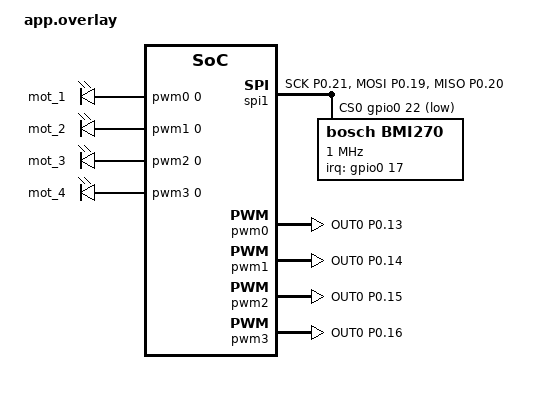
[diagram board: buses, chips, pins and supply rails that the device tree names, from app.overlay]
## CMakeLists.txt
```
cmake_minimum_required(VERSION 3.20.0)
find_package(Zephyr REQUIRED HINTS $ENV{ZEPHYR_BASE})
project(quinjet_drone)

# Added all FC source files
target_sources(app PRIVATE 
    src/main.c 
    src/radio_esb.c
    src/flight_control.c
    src/drivers/imu_bmi270.c
    src/drivers/motor_pwm.c
    src/modules/motor_mixer.c
    src/modules/pid.c
    src/modules/sensor_fusion.c
    src/modules/dynamic_notch.c
)

# Added shared include for the data packet
target_include_directories(app PRIVATE include ../shared/include)
```

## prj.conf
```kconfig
CONFIG_GPIO=y
CONFIG_PRINTK=y
CONFIG_CBPRINTF_FP_SUPPORT=y

# Hardware Subsystems
CONFIG_SPI=y
CONFIG_SENSOR=y
CONFIG_PWM=y
CONFIG_BMI270=y

# Enable CMSIS DSP
CONFIG_CMSIS_DSP=y
CONFIG_CMSIS_DSP_CONTROLLER=y
CONFIG_CMSIS_DSP_FASTMATH=y

CONFIG_CMSIS_DSP_FILTERING=y
CONFIG_CMSIS_DSP_TRANSFORM=y
CONFIG_CMSIS_DSP_COMPLEXMATH=y

# Enable Hardware Interrupt Triggers for the IMU
CONFIG_BMI270_TRIGGER_GLOBAL_THREAD=y

# ESB Configuration
CONFIG_ESB=y
CONFIG_ESB_MAX_PAYLOAD_LENGTH=32

CONFIG_USE_SEGGER_RTT=y
CONFIG_RTT_CONSOLE=y
CONFIG_UART_CONSOLE=n
CONFIG_STDOUT_CONSOLE=y

CONFIG_CLOCK_CONTROL_NRF_K32SRC_RC=y
CONFIG_CLOCK_CONTROL_NRF_K32SRC_500PPM=y

# for reference https://github.com/nrfconnect/sdk-nrf/blob/fbcdd8cc23fb193c30e6e4e87bf9d0ae0c2ff943/include/esb.h#L307 and https://github.com/nrfconnect/sdk-nrf/blob/main/subsys/esb/esb.c
```

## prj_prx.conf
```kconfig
# Basic System
CONFIG_GPIO=y
CONFIG_PRINTK=y
CONFIG_CBPRINTF_FP_SUPPORT=y 

# ESB Configuration
CONFIG_ESB=y
CONFIG_ESB_MAX_PAYLOAD_LENGTH=32

# RTT Console Logging
CONFIG_USE_SEGGER_RTT=y
CONFIG_RTT_CONSOLE=y
CONFIG_UART_CONSOLE=n
CONFIG_STDOUT_CONSOLE=y

# MANDATORY HARDWARE CLOCK FIX (Internal RC Oscillator)
CONFIG_CLOCK_CONTROL_NRF_K32SRC_RC=y
CONFIG_CLOCK_CONTROL_NRF_K32SRC_500PPM=y

# for reference https://github.com/nrfconnect/sdk-nrf/blob/fbcdd8cc23fb193c30e6e4e87bf9d0ae0c2ff943/include/esb.h#L307 and https://github.com/nrfconnect/sdk-nrf/blob/main/subsys/esb/esb.c
```

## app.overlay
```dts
/ {
    pwm_motor {
        compatible = "pwm-leds";
        mot_1: pwm_node_0 {
            pwms = <&pwm0 0 PWM_HZ(32000) PWM_POLARITY_NORMAL>;
        };
        mot_2: pwm_node_1 {
            pwms = <&pwm1 0 PWM_HZ(32000) PWM_POLARITY_NORMAL>;
        };
        mot_3: pwm_node_2 {
            pwms = <&pwm2 0 PWM_HZ(32000) PWM_POLARITY_NORMAL>;
        };
        mot_4: pwm_node_3 {
            pwms = <&pwm3 0 PWM_HZ(32000) PWM_POLARITY_NORMAL>;
        };
    };
};

&pinctrl {
    spi1_default: spi1_default {
        group1 {
            psels = <NRF_PSEL(SPIM_SCK, 0, 21)>,
                    <NRF_PSEL(SPIM_MOSI, 0, 19)>,
                    <NRF_PSEL(SPIM_MISO, 0, 20)>;
        };
    };
    pwm0_default: pwm0_default {
        group1 {
            /* Routing PWM channel 0 to Pin P0.13 */
            psels = <NRF_PSEL(PWM_OUT0, 0, 13)>;
        };
    };
    pwm1_default: pwm1_default {
        group1 {
            /* Routing PWM channel 0 to Pin P0.14 */
            psels = <NRF_PSEL(PWM_OUT0, 0, 14)>;
        };
    };
    pwm2_default: pwm2_default {
        group1 {
            /* Routing PWM channel 0 to Pin P0.15 */
            psels = <NRF_PSEL(PWM_OUT0, 0, 15)>;
        };
    };
    pwm3_default: pwm3_default {
        group1 {
            /* Routing PWM channel 0 to Pin P0.16 */
            psels = <NRF_PSEL(PWM_OUT0, 0, 16)>;
        };
    };
};

/*
The number after the @ symbol (and inside the reg property) specifies the hardware address of the device on that specific bus.
*/

&spi1 {
    compatible = "nordic,nrf-spim";
    status = "okay";
    pinctrl-0 = <&spi1_default>;
    pinctrl-names = "default";
    /delete-property/ pinctrl-1;

    cs-gpios = <&gpio0 22 GPIO_ACTIVE_LOW>;

    bmi270: bmi270@0 {
        compatible = "bosch,bmi270";
        reg = <0>;
        spi-max-frequency = <1000000>;
        irq-gpios = <&gpio0 17 GPIO_ACTIVE_HIGH>;
    };
};


&pwm0 {
    status = "okay";
    pinctrl-0 = <&pwm0_default>;
    pinctrl-names = "default";
    /delete-property/ pinctrl-1;
};

&pwm1 {
    status = "okay";
    pinctrl-0 = <&pwm1_default>;
    pinctrl-names = "default";
    /delete-property/ pinctrl-1;
};

&pwm2 {
    status = "okay";
    pinctrl-0 = <&pwm2_default>;
    pinctrl-names = "default";
    /delete-property/ pinctrl-1;
};

&pwm3 {
    status = "okay";
    pinctrl-0 = <&pwm3_default>;
    pinctrl-names = "default";
    /delete-property/ pinctrl-1;
};
```

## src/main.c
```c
#include <zephyr/kernel.h>
#include <zephyr/sys/printk.h>

#include "radio_esb.h"
#include "drivers/motor_pwm.h"

// Expose the BMI init here
extern int bmi270_init(void);

int main(void) {
    printk("\n Booting Quinjet FC \n");

    if (app_pwm_init() != 0) {
        printk("Failed to init PWM.\n");
    }

    if (bmi270_init() != 0) {
        printk("Failed to init IMU.\n");
    }

    if (radio_esb_init(false) != 0) { // false = PRX (Receiver)
        printk("Failed to boot radio.\n");
    }

    printk("System Ready. Flight Controller locked to IMU interrupts.\n");
    
    k_sleep(K_FOREVER);
    return 0;
}
```

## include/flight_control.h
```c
#ifndef FLIGHT_CONTROL_H
#define FLIGHT_CONTROL_H

typedef struct {
    float roll;
    float pitch;
    float yaw;
} euler_angles_t;

#endif 
```

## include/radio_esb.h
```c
#ifndef RADIO_ESB_H
#define RADIO_ESB_H

#include <stdint.h>
#include <stdbool.h>
#include <zephyr/spinlock.h>
#include "drone_packet.h" 

// Expose the shared memory and the lock to the flight control thread
extern data_packet latest_rc_command;
extern struct k_spinlock rc_spinlock;

int radio_esb_init(bool is_transmitter);

#endif
```

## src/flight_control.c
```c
#include <zephyr/kernel.h>
#include <zephyr/device.h>
#include <zephyr/drivers/sensor.h>
#include <zephyr/sys/printk.h>
#include <string.h>

#include "flight_control.h"
#include "radio_esb.h"
#include "modules/pid.h"
#include "modules/sensor_fusion.h"
#include "modules/motor_mixer.h"
#include "drivers/motor_pwm.h"
#include "modules/dynamic_notch.h"

#define RADIO_TIMEOUT_MS 500 

// Access the semaphore from the IMU driver
extern struct k_sem imu_data_ready_sem;

// This variable exists in radio_esb.c; declared and initialized there already, so use extern
extern int64_t last_packet_time; 

euler_angles_t current_angle = {0.0f, 0.0f, 0.0f};

// Making them static so they hold state across loops
static pid_controller pitch_pid;
static pid_controller roll_pid;
static pid_controller yaw_pid;

static dynamic_notch_t pitch_notch;
static dynamic_notch_t roll_notch;

void flight_controller_thread(void* p1, void* p2, void* p3){
    int64_t local_last_packet_time = 0;
    const struct device *bmi270 = DEVICE_DT_GET(DT_NODELABEL(bmi270));
    struct sensor_value accel[3];
    struct sensor_value gyro[3];
    data_packet local_rc_command;

    // Initialize PIDs.
    // Update to PID functions - Added 1.0f for the new Kb (anti-windup) parameter

    // Arguments in this order: p, i, d, b, i_limit, out_limit, cutoff_hz, sample_hz
    pid_init(&pitch_pid, 1.5f, 0.01f, 0.5f, 1.0f, 100.0f, 10000.0f, 30.0f, 1000.0f);
    pid_init(&roll_pid,  1.5f, 0.01f, 0.5f, 1.0f, 100.0f, 10000.0f, 30.0f, 1000.0f);
    pid_init(&yaw_pid,   1.5f, 0.01f, 0.5f, 1.0f, 100.0f, 10000.0f, 30.0f, 1000.0f); 

    // Initialize Dynamic Notch Filters for Gyro Channels to strip out motor vibration frequency
    dynamic_notch_init(&pitch_notch);
    dynamic_notch_init(&roll_notch);

    while(1){
        // Runs when IMU triggers data ready interrupt and gives semaphore to this fc thread
        k_sem_take(&imu_data_ready_sem, K_FOREVER);

        // get values from IMU
        sensor_sample_fetch(bmi270);
        sensor_channel_get(bmi270, SENSOR_CHAN_ACCEL_XYZ, accel);
        sensor_channel_get(bmi270, SENSOR_CHAN_GYRO_XYZ, gyro);

        // Convert Accel and Gyro to hardware floats because we do floating point math later 

        /*
            The nRF52840 uses an ARM Cortex-M4F processor ('F' stands for a hardware Floating-Point Unit (FPU)), making floating-point math extremely fast. Multiplying two floats takes 1 to 3 clock cycles, so practically as fast as integer math.

            It is single precision FPU, so need 32 bit float; Can't support 64 bit double.
            
        */
        float ax = sensor_value_to_double(&accel[0]);
        float ay = sensor_value_to_double(&accel[1]);
        float az = sensor_value_to_double(&accel[2]);
        
        float raw_gx = sensor_value_to_double(&gyro[0]);
        float raw_gy = sensor_value_to_double(&gyro[1]);
        float raw_gz = sensor_value_to_double(&gyro[2]);

        // Apply Dynamic Notch Filter to strip motor resonance
        float clean_gx = dynamic_notch_process(&roll_notch, raw_gx);
        float clean_gy = dynamic_notch_process(&pitch_notch, raw_gy);

        // Compute current orientation of drone
        sensor_fusion_compute(ax, ay, az, clean_gx, clean_gy, raw_gz, &current_angle, 0.001f);

        // Access shared memory
        // Get latest joystick positions from the radio thread
        k_spinlock_key_t key = k_spin_lock(&rc_spinlock);
        memcpy(&local_rc_command, &latest_rc_command, sizeof(data_packet));
        local_last_packet_time = last_packet_time; // Pull the timestamp
        k_spin_unlock(&rc_spinlock, key);

        // Failsafe - Did radio timeout, somehow rc disconnected, out of range etc?
        if ((k_uptime_get() - local_last_packet_time) > RADIO_TIMEOUT_MS) {
            motor_outputs_t kill_output = {0, 0, 0, 0};
            app_pwm_set(&kill_output);
            continue; // Skip PID math 
        }

        // Update PID loops 
        float pitch_correction = pid_update(&pitch_pid, local_rc_command.pitch, current_angle.pitch, 0.001f);
        float roll_correction  = pid_update(&roll_pid,  local_rc_command.roll,  current_angle.roll,  0.001f);
        float yaw_correction   = pid_update(&yaw_pid,   local_rc_command.yaw,   current_angle.yaw,   0.001f);

        // Mix outputs and send to motors
        motor_outputs_t output = mix_motors(local_rc_command.throttle, pitch_correction, roll_correction, yaw_correction, local_rc_command.status);
        app_pwm_set(&output);   
    }
}

K_THREAD_DEFINE(fc_thread_id, 2048, flight_controller_thread, NULL, NULL, NULL, -1, 0, 0);

/*
A preemptive thread can be interrupted by the OS scheduler if a higher-priority task wakes up. If FC thread is halfway through calculating the PID loop and kernel pauses it to run the ESB thread, motor updates will be delayed. This causes jitter and messes up the DSP pipeline.
*/
```

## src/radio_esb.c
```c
#include <zephyr/kernel.h>
#include <zephyr/sys/printk.h>
#include <esb.h>
#include <string.h>
#include "radio_esb.h"
#include "drone_packet.h"

data_packet latest_rc_command;
struct k_spinlock rc_spinlock;

int64_t last_packet_time = 0; // Adding this global to implement a radio failsafe feature

/*
Because the esb_callback will run in an ISR context (Interrupt triggered a soon as data packet arrives) we cannot use a k_mutex to protect the shared data. So, we use a spinlock, which disables local interrupts for a very short time (typically fraction of microsecond short) to safely copy the memory between an ISR and a thread!
*/

// ESB Hardware interrupt Callback
static void esb_callback(struct esb_evt const *event) {
    if (event->evt_id == ESB_EVENT_RX_RECEIVED){ 
        struct esb_payload rx_payload;

        if(esb_read_rx_payload(&rx_payload) == 0) {
            k_spinlock_key_t key = k_spin_lock(&rc_spinlock);
            memcpy(&latest_rc_command, rx_payload.data, sizeof(data_packet));

            // Record the exact time the packet arrived
            last_packet_time = k_uptime_get();
            
            k_spin_unlock(&rc_spinlock, key);
            
            // fixed print formatting
            // printk("RX! ID: %d | Throttle: %f\n", latest_rc_command.packet_id, (double)latest_rc_command.throttle);
        }
    }
}

int radio_esb_init(bool is_transmitter) {
    struct esb_config config = ESB_DEFAULT_CONFIG;
    
    config.protocol = ESB_PROTOCOL_ESB_DPL;
    config.retransmit_delay = 600; // Controls the delay between retransmissions of unacknowledged packets; Nordic ESB API default is 600 µs
    config.bitrate = ESB_BITRATE_2MBPS;
    config.event_handler = esb_callback;

    if (is_transmitter) {
        config.mode = ESB_MODE_PTX;
    } else {
        config.mode = ESB_MODE_PRX;
    }

    int err = esb_init(&config);
    if (err) {
        printk("ESB Init Error: %d\n", err);
        return err;
    }

    if (!is_transmitter) {
        esb_start_rx();
        printk("Receiver configured and listening...\n");
    } else {
        printk("Transmitter configured and ready...\n");
    }
    
    return 0;
}

/*
void radio_esb_send_packet(uint8_t *data, uint8_t length) {
    struct esb_payload tx_payload = {
        .pipe = 0,
        .noack = false,
    };
    
    memcpy(tx_payload.data, data, length);
    tx_payload.length = length;
    
    esb_write_payload(&tx_payload);
}
    */
```
